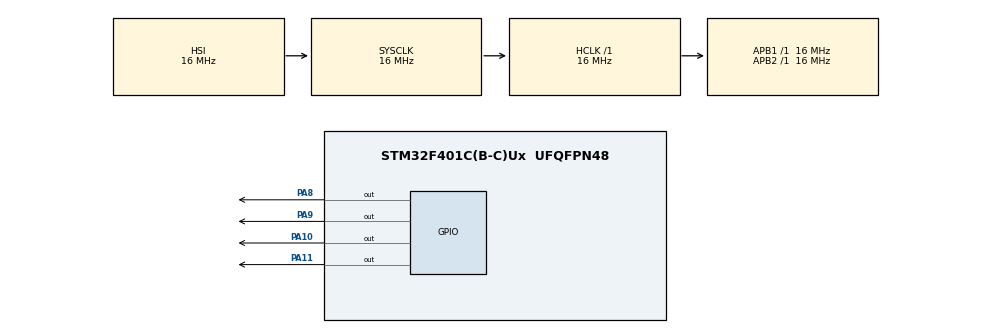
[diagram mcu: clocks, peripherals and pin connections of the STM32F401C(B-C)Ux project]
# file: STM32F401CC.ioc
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Mcu.Family=STM32F4
Mcu.Name=STM32F401C(B-C)Ux
Mcu.Package=UFQFPN48
NVIC.PriorityGroup=NVIC_PRIORITYGROUP_4
NVIC.TIM1_UP_TIM10_IRQn=true\:0\:0\:false\:false\:true\:true\:true
PA10.Signal=GPIO_Output
PA11.Signal=GPIO_Output
PA8.Signal=GPIO_Output
PA9.Signal=GPIO_Output
ProjectManager.HeapSize=0x200
ProjectManager.StackSize=0x400
ProjectManager.TargetToolchain=STM32CubeIDE
RCC.AHBFreq_Value=16000000
RCC.APB1Freq_Value=16000000
RCC.APB2Freq_Value=16000000
RCC.CortexFreq_Value=16000000
RCC.HSE_VALUE=25000000
RCC.HSI_VALUE=16000000
RCC.LSE_VALUE=32768
RCC.SYSCLKFreq_VALUE=16000000
RCC.VCOOutputFreq_Value=192000000
TIM1.Period=1000
TIM1.Prescaler=15
VP_TIM1_VS_ClockSourceINT.Mode=Internal
board=custom

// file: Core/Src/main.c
/* USER CODE BEGIN Header */
/**
  ******************************************************************************
  * @file           : main.c
  * @brief          : Main program body
  ******************************************************************************
  * @attention
  *
  * Copyright (c) 2026 STMicroelectronics.
  * All rights reserved.
  *
  * This software is licensed under terms that can be found in the LICENSE file
  * in the root directory of this software component.
  * If no LICENSE file comes with this software, it is provided AS-IS.
  *
  ******************************************************************************
  */
/* USER CODE END Header */
#include "main.h"

TIM_HandleTypeDef htim1;

void SystemClock_Config(void);
static void MX_TIM1_Init(void);
static void MX_GPIO_Init(void);

/* USER CODE BEGIN 0 */

typedef struct {
	uint16_t timeout;
	uint16_t timeoutHight;
	uint16_t count;
	uint16_t pin;
	void (*handler) (void);
}userTimer_t;

userTimer_t sp_timers[4];

void handler1(void) {
	HAL_GPIO_TogglePin(GPIOA, GPIO_PIN_8);
}

void handler2(void) {
	HAL_GPIO_TogglePin(GPIOA, GPIO_PIN_9);
}

void handler3(void) {
	HAL_GPIO_TogglePin(GPIOA, GPIO_PIN_10);
}

void handler4(void) {
	HAL_GPIO_TogglePin(GPIOA, GPIO_PIN_11);
}

// HAL_GPIO_TogglePin(GPIOA, GPIO_PIN_9);
//HAL_TIM_Base_Start_IT(&htim1);
//s_pinStateNew = HAL_GPIO_ReadPin(GPIOA, GPIO_PIN_11);
//__HAL_TIM_SET_COUNTER(&htim1, 0);
//TIM1->ARR = DEBOUNCE_TIMEOUT;

void HAL_TIM_PeriodElapsedCallback(TIM_HandleTypeDef *htim) {
    if (htim->Instance == TIM1) {
    	//HAL_GPIO_TogglePin(GPIOA, GPIO_PIN_9);
    	for (int i=0; i<4; i++) {
    		sp_timers[i].count++;
    		if (sp_timers[i].count >= sp_timers[i].timeoutHight) {
    			HAL_GPIO_WritePin(GPIOA, sp_timers[i].pin, GPIO_PIN_RESET);
    		}
    		if (sp_timers[i].count >= sp_timers[i].timeout) {
    			sp_timers[i].count = 0;
    			HAL_GPIO_WritePin(GPIOA, sp_timers[i].pin, GPIO_PIN_SET);
    			/*
    			if (sp_timers[i].handler != 0) {
    				(*(sp_timers[i].handler))();
    			}
    			*/
    		}

    	}
    	HAL_TIM_Base_Start_IT(&htim1);
    }
}

/* USER CODE END 0 */

int main(void)
{

  /* MCU Configuration--------------------------------------------------------*/

  /* Reset of all peripherals, Initializes the Flash interface and the Systick. */
  HAL_Init();

  /* Configure the system clock */
  SystemClock_Config();

  /* Initialize all configured peripherals */
  MX_TIM1_Init();
  MX_GPIO_Init();
  /* USER CODE BEGIN 2 */
  //HAL_TIM_Base_Start_IT(&htim1);
  //__HAL_TIM_ENABLE_IT(&htim1, TIM_IT_CC1);
  //HAL_TIM_OC_Start(&htim1, TIM_CHANNEL_1);
  //HAL_TIM_OC_Start(&htim1, TIM_CHANNEL_2);
  //HAL_TIM_OC_Start(&htim1, TIM_CHANNEL_3);
  //HAL_TIM_OC_Start(&htim1, TIM_CHANNEL_4);
  /* USER CODE END 2 */

  /* Infinite loop */
  /* USER CODE BEGIN WHILE */
  sp_timers[0].timeout = 10;
  sp_timers[0].timeoutHight = 1;
  sp_timers[0].pin = GPIO_PIN_8;
  //sp_timers[0].handler = handler1;

  sp_timers[1].timeout = 10;
  sp_timers[1].timeoutHight = 3;
  sp_timers[1].pin = GPIO_PIN_9;
  //sp_timers[1].handler = handler2;

  sp_timers[2].timeout = 10;
  sp_timers[2].timeoutHight = 5;
  sp_timers[2].pin = GPIO_PIN_10;
  //sp_timers[2].handler = handler3;

  sp_timers[3].timeout = 10;
  sp_timers[3].timeoutHight = 10;
  sp_timers[3].pin = GPIO_PIN_11;
  //sp_timers[3].handler = handler4;

  HAL_TIM_Base_Start_IT(&htim1);

  while (1)
  {

      HAL_Delay(500);
    /* USER CODE END WHILE */

  }
}

void SystemClock_Config(void)
{
  RCC_OscInitTypeDef RCC_OscInitStruct = {0};
  RCC_ClkInitTypeDef RCC_ClkInitStruct = {0};

  /** Configure the main internal regulator output voltage
  */
  __HAL_RCC_PWR_CLK_ENABLE();
  __HAL_PWR_VOLTAGESCALING_CONFIG(PWR_REGULATOR_VOLTAGE_SCALE2);
  /** Initializes the RCC Oscillators according to the specified parameters
  * in the RCC_OscInitTypeDef structure.
  */
  RCC_OscInitStruct.OscillatorType = RCC_OSCILLATORTYPE_HSI;
  RCC_OscInitStruct.HSIState = RCC_HSI_ON;
  RCC_OscInitStruct.HSICalibrationValue = RCC_HSICALIBRATION_DEFAULT;
  RCC_OscInitStruct.PLL.PLLState = RCC_PLL_NONE;
  if (HAL_RCC_OscConfig(&RCC_OscInitStruct) != HAL_OK)
  {
    Error_Handler();
  }
  /** Initializes the CPU, AHB and APB buses clocks
  */
  RCC_ClkInitStruct.ClockType = RCC_CLOCKTYPE_HCLK|RCC_CLOCKTYPE_SYSCLK
                              |RCC_CLOCKTYPE_PCLK1|RCC_CLOCKTYPE_PCLK2;
  RCC_ClkInitStruct.SYSCLKSource = RCC_SYSCLKSOURCE_HSI;
  RCC_ClkInitStruct.AHBCLKDivider = RCC_SYSCLK_DIV1;
  RCC_ClkInitStruct.APB1CLKDivider = RCC_HCLK_DIV1;
  RCC_ClkInitStruct.APB2CLKDivider = RCC_HCLK_DIV1;

  if (HAL_RCC_ClockConfig(&RCC_ClkInitStruct, FLASH_LATENCY_0) != HAL_OK)
  {
    Error_Handler();
  }
}

static void MX_TIM1_Init(void)
{

  TIM_ClockConfigTypeDef sClockSourceConfig = {0};
  TIM_MasterConfigTypeDef sMasterConfig = {0};

  htim1.Instance = TIM1;
  htim1.Init.Prescaler = 15;
  htim1.Init.CounterMode = TIM_COUNTERMODE_UP;
  htim1.Init.Period = 1000;
  htim1.Init.ClockDivision = TIM_CLOCKDIVISION_DIV1;
  htim1.Init.RepetitionCounter = 0;
  htim1.Init.AutoReloadPreload = TIM_AUTORELOAD_PRELOAD_DISABLE;
  if (HAL_TIM_Base_Init(&htim1) != HAL_OK)
  {
    Error_Handler();
  }
  sClockSourceConfig.ClockSource = TIM_CLOCKSOURCE_INTERNAL;
  if (HAL_TIM_ConfigClockSource(&htim1, &sClockSourceConfig) != HAL_OK)
  {
    Error_Handler();
  }
  sMasterConfig.MasterOutputTrigger = TIM_TRGO_RESET;
  sMasterConfig.MasterSlaveMode = TIM_MASTERSLAVEMODE_DISABLE;
  if (HAL_TIMEx_MasterConfigSynchronization(&htim1, &sMasterConfig) != HAL_OK)
  {
    Error_Handler();
  }

}

static void MX_GPIO_Init(void)
{
  GPIO_InitTypeDef GPIO_InitStruct = {0};

  /* GPIO Ports Clock Enable */
  __HAL_RCC_GPIOA_CLK_ENABLE();

  /*Configure GPIO pin Output Level */
  HAL_GPIO_WritePin(GPIOA, GPIO_PIN_8|GPIO_PIN_9|GPIO_PIN_10|GPIO_PIN_11, GPIO_PIN_RESET);

  /*Configure GPIO pins : PA8 PA9 PA10 PA11 */
  GPIO_InitStruct.Pin = GPIO_PIN_8|GPIO_PIN_9|GPIO_PIN_10|GPIO_PIN_11;
  GPIO_InitStruct.Mode = GPIO_MODE_OUTPUT_PP;
  GPIO_InitStruct.Pull = GPIO_NOPULL;
  GPIO_InitStruct.Speed = GPIO_SPEED_FREQ_LOW;
  HAL_GPIO_Init(GPIOA, &GPIO_InitStruct);

}

void Error_Handler(void)
{
  __disable_irq();
  while (1)
  {
  }
}
